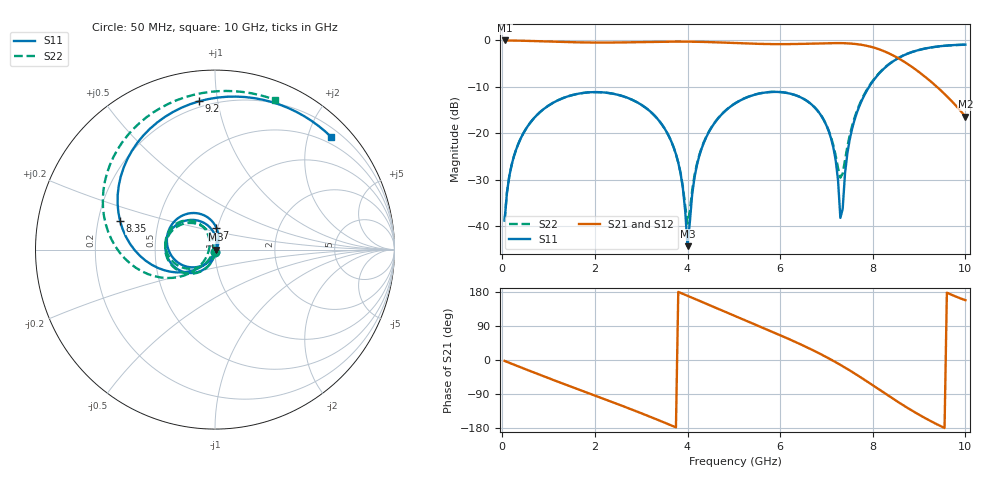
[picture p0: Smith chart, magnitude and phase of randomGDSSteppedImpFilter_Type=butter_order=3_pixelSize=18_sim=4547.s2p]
! freq	dB(S11)	phase(S11)	dB(S12)	phase(S12)
!  dB(S21)	phase(S21)	dB(S22)	phase(S22)
!S-par simulation data
#  GHz  S  DB  R 50
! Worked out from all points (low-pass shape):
!   200 points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, 50 MHz to 10 GHz, reference 50 ohm
!   highest |S21| = -0.01 dB at 50 MHz (marker M1); lowest = -16.4 dB at 10 GHz (marker M2)
!   |S21| within 3 dB of the highest: start of sweep to 8.395 GHz
!   lowest |S11| = -44.3 dB at 4 GHz (marker M3), VSWR 1.01, Z = 50.6 + j0.0143 ohm
!   |S11| at or under -10 dB: start of sweep to 7.921 GHz
!   |S22| runs from -39.5 to -0.9 dB; largest |S21 - S12| = 0
!   S11 on the Smith chart (normalised r, x): 50 MHz: 1.00, -0.02; 7 GHz: 0.99, +0.24; 8.35 GHz: 0.29, +0.14; 9.2 GHz: 0.17, +0.88; 10 GHz: 0.36, +2.43
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0.05  -38.83 -91.9  -0.01 -2.5  -0.01 -2.5  -38.83 -91.8
0.2  -26.89 -100.1  -0.02 -9.8  -0.02 -9.8  -26.89 -99.8
0.5  -19.23 -115.3  -0.08 -24.2  -0.08 -24.2  -19.23 -114.4
1.75  -11.31 -174.7  -0.43 -82.5  -0.43 -82.5  -11.31 -171.5
2.55  -11.85 147.6  -0.44 -119.1  -0.44 -119.1  -11.86 153.0
3.4  -17.48 104.8  -0.28 -160.1  -0.28 -160.1  -17.49 115.4
3.8  -26.34 80.2  -0.25 179.7  -0.25 179.7  -26.29 103.6
3.9  -31.84 69.5  -0.25 174.6  -0.25 174.6  -31.53 109.2
4  -44.32 1.3  -0.26 169.4  -0.26 169.4  -39.48 165.0
4.15  -29.55 -103.3  -0.28 161.7  -0.28 161.7  -29.11 -122.8
4.3  -23.42 -115.8  -0.31 153.9  -0.31 153.9  -23.26 -121.9
5.05  -13.43 -158.8  -0.57 115.0  -0.57 115.0  -13.39 -153.3
5.9  -11.08 155.0  -0.80 70.9  -0.80 70.9  -11.07 166.2
6.7  -13.99 107.4  -0.68 26.2  -0.68 26.2  -13.98 127.2
7  -18.33 86.3  -0.59 7.6  -0.59 7.6  -18.24 115.6
7.2  -25.87 67.0  -0.57 -5.8  -0.57 -5.8  -24.86 122.4
7.3  -38.23 26.1  -0.58 -12.8  -0.58 -12.8  -29.56 161.2
7.45  -24.43 -114.9  -0.63 -23.6  -0.63 -23.6  -22.93 -137.0
7.6  -17.32 -131.1  -0.74 -34.9  -0.74 -34.9  -16.85 -133.6
8.35  -5.15 163.1  -2.79 -95.2  -2.79 -95.2  -5.09 178.0
9.2  -1.61 96.2  -8.40 -157.9  -8.40 -157.9  -1.62 117.4
10  -0.90 44.0  -16.41 157.9  -16.41 157.9  -0.92 68.3
